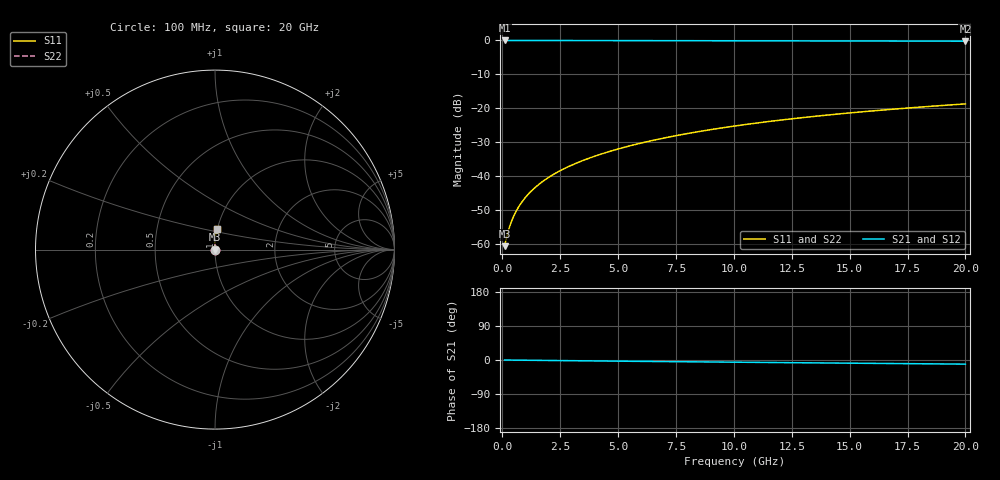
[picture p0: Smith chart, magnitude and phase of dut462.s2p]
! Touchstone file exported from HFSS 2024.1.0
!  File:  C:/UserFiles/LocalFiles/RDL_TSV_Batchsim/temp_RDL_top_462_1779677596.aedt
!  Generated:  10:55:22 AM May 25, 2026
!  Design:  RDL_top
!  Project:  temp_RDL_top_462_1779677596
!  Setup:  Setup1
!  Solution:  Sweep
! Variables:
!  dtsv = 10.80580581um
!  hbump = 3um
!  htsv = 58um
!  ldown = 100um
!  lrdl = 132.93um
!  p = 40
!  p1 = 47.89um
!  rhole = 1um
!  t = 450um
!  tdown = 3.915915916um
!  trdl = 3.52um
!  wdown = 15.38538539um
!  wrdl = 25.32um
# GHz S MA R 50.000000
! Terminal data exported
! Port[1] = Box2_T1
! Port[2] = Box2_T2
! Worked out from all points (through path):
!   200 points, 100 MHz to 20 GHz, reference 50 ohm
!   highest |S21| = -0.01 dB at 100 MHz (marker M1); lowest = -0.2 dB at 20 GHz (marker M2)
!   group delay of S21, straight-line fit = 1.49 ps
!   lowest |S11| = -60.6 dB at 100 MHz (marker M3), VSWR 1.00, Z = 50.1 + j0.0536 ohm
!   |S11| at or under -10 dB: start of sweep to end of sweep
!   |S22| runs from -60.6 to -18.7 dB; largest |S21 - S12| = 4.1e-15
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0.1  0.0009378 34.8  0.9992 -0.1  0.9992 -0.1  0.0009378 34.8
! Gamma 0 0 0 0
! Port Impedance 50 0 50 0
0.2  0.001322 52.3  0.9992 -0.1  0.9992 -0.1  0.001322 52.3
0.3  0.001751 61.2  0.9991 -0.2  0.9991 -0.2  0.001751 61.2
0.4  0.002187 66.6  0.9991 -0.3  0.9991 -0.3  0.002187 66.6
0.5  0.002628 70.3  0.999 -0.3  0.999 -0.3  0.002628 70.3
0.6  0.003073 73.2  0.999 -0.4  0.999 -0.4  0.003073 73.2
0.8  0.003976 77.2  0.9989 -0.5  0.9989 -0.5  0.003976 77.2
1.1  0.005358 81.0  0.9988 -0.7  0.9988 -0.7  0.005358 81.0
1.3  0.006295 82.7  0.9987 -0.8  0.9987 -0.8  0.006295 82.7
1.6  0.007718 84.6  0.9985 -1.0  0.9985 -1.0  0.007718 84.6
2.1  0.01013 86.8  0.9981 -1.3  0.9981 -1.3  0.01013 86.8
2.7  0.01311 88.6  0.9975 -1.7  0.9975 -1.7  0.01311 88.6
3.5  0.0172 90.1  0.9966 -2.2  0.9966 -2.2  0.0172 90.1
4.2  0.0209 91.0  0.9957 -2.6  0.9957 -2.6  0.0209 91.0
5  0.02527 91.6  0.9946 -3.1  0.9946 -3.1  0.02527 91.6
5.9  0.03033 92.0  0.9933 -3.6  0.9933 -3.6  0.03033 92.0
6.8  0.03554 92.1  0.992 -4.1  0.992 -4.1  0.03554 92.1
8.4  0.04506 91.7  0.9896 -5.0  0.9896 -5.0  0.04506 91.7
10.1  0.05542 91.0  0.9873 -5.9  0.9873 -5.9  0.05542 91.0
13.4  0.07582 88.9  0.983 -7.6  0.983 -7.6  0.07582 88.9
16.7  0.09622 86.7  0.9792 -9.2  0.9792 -9.2  0.09622 86.7
20  0.1164 84.5  0.9754 -10.9  0.9754 -10.9  0.1164 84.5
